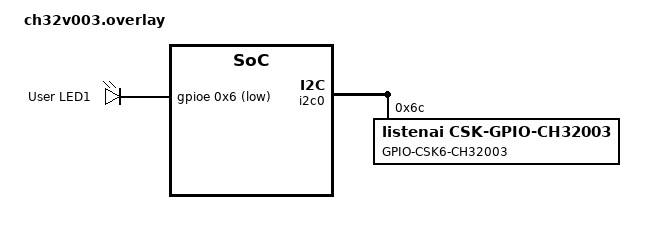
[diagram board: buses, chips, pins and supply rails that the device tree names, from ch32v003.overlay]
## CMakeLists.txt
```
# SPDX-License-Identifier: Apache-2.0

cmake_minimum_required(VERSION 3.20.0)

set(SUPPORT_BOARDS csk6012_nano csk6011a_nano)
if(NOT ${BOARD} IN_LIST SUPPORT_BOARDS)
    message("Please choose one of the following boards:")
    foreach(item ${SUPPORT_BOARDS})
        message(STATUS ${item})
    endforeach()
    message(FATAL_ERROR "\nThe project does not support the ${BOARD}")
endif()

find_package(Zephyr REQUIRED HINTS $ENV{ZEPHYR_BASE})
project(gpio_led)

target_sources(app PRIVATE src/main.c)
```

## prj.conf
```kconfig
CONFIG_GPIO=y
CONFIG_SHELL=y
CONFIG_TEST_RANDOM_GENERATOR=y
CONFIG_ENTROPY_GENERATOR=y
CONFIG_ENTROPY_CSK6_RNG=y
CONFIG_HARDWARE_DEVICE_CS_GENERATOR=y
```

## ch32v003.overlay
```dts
/ {
	leds {
		compatible = "gpio-leds";
		green_led: led1 {
			gpios = <&gpioe 0x6 0x1>;
			label = "User LED1";
		};
	};
};

&pinctrl {

	pinctrl_i2c0_scl_default: i2c0_scl_default{
		pinctrls = <I2C0_SCL_GPIOB_10>;
	};

	pinctrl_i2c0_sda_default: i2c0_sda_default{
		pinctrls = <I2C0_SDA_GPIOB_11>;
	};  
};

&i2c0 {
	status = "okay";
	pinctrl-0 = <&pinctrl_i2c0_scl_default &pinctrl_i2c0_sda_default>;
	pinctrl-names = "default";
	csk6_ch32v003@6c {
		compatible = "listenai,csk-gpio-ch32003";
		reg = <0x6c>;
		label = "GPIO-CSK6-CH32003";
		status = "okay";
		#address-cells = <1>;
		#size-cells = <0>;

		gpioc: gpio@0 {
			compatible = "listenai,csk-gpio-ch32003-port";
			label = "GPIOC";
			reg = <0x00>;
			status = "okay";
			ngpios = <8>;
			#gpio-cells = <2>;
			gpio-controller;
			pin_mask = <0x00>;
		};

		gpiod: gpio@1 {
			compatible = "listenai,csk-gpio-ch32003-port";
			label = "GPIOD";
			reg = <0x01>;
			status = "okay";
			ngpios = <8>;
			#gpio-cells = <2>;
			gpio-controller;
			pin_mask = <0xff>;
		};

		gpioe: gpio@2 {
			compatible = "listenai,csk-gpio-ch32003-port";
			label = "GPIOE";
			reg = <0x02>;
			status = "okay";
			ngpios = <8>;
			#gpio-cells = <2>;
			gpio-controller;
		};
	};
};
```

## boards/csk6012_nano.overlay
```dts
/*
 * Copyright (c) 2021-2022 listenai Intelligent Technology (anhui) Co., Ltd.
 *
 * SPDX-License-Identifier: Apache-2.0
 */

/{
    aliases {
        led0 = &green_led;
    };
    
    leds {
        compatible = "gpio-leds";
        green_led: led1 {
                gpios = <&gpiob 6 GPIO_ACTIVE_LOW>;
                label = "User LED1";
        };
    };
};
```

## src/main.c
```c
/*
 * Copyright (c) 2023 Anhui(Shenzhen) Listenai Co., Ltd.
 *
 * SPDX-License-Identifier: Apache-2.0
 */

#include "Driver_GPIO.h"
#include "Driver_GPT_PWM.h"
#include "IOMuxManager.h"
#include "cmn_sysctrl_reg_venus.h"
#include "gpt.h"
#include "gpt_reg_venus.h"
#include "venus_ap.h"

#include <device.h>
#include <devicetree.h>
#include <drivers/gpio.h>
#include <zephyr.h>

#define CSK6001_GPTtest ((GPT_RegDef *)GPT_BASE)

/* 1000 msec = 1 sec */
#define SLEEP_TIME_MS 1000

#define LED0 DT_GPIO_LABEL(DT_NODELABEL(green_led), gpios)
#define PIN  DT_GPIO_PIN(DT_NODELABEL(green_led), gpios)

static void motor_timer_expiry_handler(struct k_timer *timer);

K_TIMER_DEFINE(motor_timer, motor_timer_expiry_handler, NULL);

/* timer callback */
static void motor_timer_expiry_handler(struct k_timer *timer)
{
	printk("motor_timer_expiry_handler\n");
	static uint8_t status = 0;

	if (status) {
		HAL_GPT_SetPWMFreqDuty(GPT0_PWM(), 0, 96000, 60);
		HAL_GPT_SetPWMFreqDuty(GPT0_PWM(), 1, 96000, 50);
		HAL_GPT_SetPWMFreqDuty(GPT0_PWM(), 2, 96000, 40);

	} else {
		HAL_GPT_SetPWMFreqDuty(GPT0_PWM(), 0, 96000, 40);
		HAL_GPT_SetPWMFreqDuty(GPT0_PWM(), 1, 96000, 50);
		HAL_GPT_SetPWMFreqDuty(GPT0_PWM(), 2, 96000, 60);
	}

	status = !status;
	CSK6001_GPTtest->SHADOW_LOAD = 0x707;
}

void main(void)
{
	int ret;
	uint8_t i;

	/* init PWM controler */
	ret = HAL_GPT_PWMInitialize(GPT0_PWM(), NULL);
	if (ret) {
		printk("HAL_GPT_PWMInitialize failed, ret:%d\n", ret);
		return;
	}
	ret = HAL_GPT_PWMPowerControl(GPT0_PWM(), CSK_POWER_FULL);
	if (ret) {
		printk("HAL_GPT_PWMInitialize failed, ret:%d\n", ret);
		return;
	}

	/* pwm channel 0, GPIOA16 */
	IOMuxManager_PinConfigure(CSK_IOMUX_PAD_A, 16, CSK_IOMUX_FUNC_ALTER11);
	/* pwm channel 1, GPIOA17 */
	IOMuxManager_PinConfigure(CSK_IOMUX_PAD_A, 17, CSK_IOMUX_FUNC_ALTER11);
	/* pwm channel 2, GPIOA18 */
	IOMuxManager_PinConfigure(CSK_IOMUX_PAD_A, 18, CSK_IOMUX_FUNC_ALTER11);

	/* init PWM channel */
	for (i = 0; i < 3; i++) {
		ret = HAL_GPT_PWMControl(
			GPT0_PWM(),
			CSK_GPT_PWM_MODE | CSK_GPT_PWM_CLKSRC_PCLK |
				CSK_GPT_PWM_OUTMODE_CENTRAL_ALIGNED | CSK_GPT_PWM_OUTPOLARITY_LOW |
				CSK_GPT_PWM_CLKDIV_1 | CSK_GPT_PWM_OPERATION_MODE_PWM,
			i);
		if (ret) {
			printk("HAL_GPT_PWMControl failed, channel:%d, ret:%d\n", i, ret);
			return;
		}

		ret = HAL_GPT_SetPWMFreqDuty(GPT0_PWM(), i, 96000, 10 + i * 20);
		if (ret) {
			printk("HAL_GPT_SetPWMFreqDuty failed, channel:%d, ret:%d\n", i, ret);
		}
	}

	CSK6001_GPTtest->SHADOW_LOAD = 0x707;

	HAL_GPT_EnablePWM(GPT0_PWM(), 0);
	HAL_GPT_EnablePWM(GPT0_PWM(), 1);
	HAL_GPT_EnablePWM(GPT0_PWM(), 2);

	CSK6001_GPTtest->CH_CNT_EN |= 0x07;

	k_timer_start(&motor_timer, K_USEC(62500), K_USEC(62500));

	/* Just call the following code where the frequency and duty cycle are changed */
	// HAL_GPT_SetPWMFreqDuty(GPT0_PWM(), 0, 96000, 20);
	// HAL_GPT_SetPWMFreqDuty(GPT0_PWM(), 1, 96000, 30);
	// HAL_GPT_SetPWMFreqDuty(GPT0_PWM(), 2, 96000, 40);
	// CSK6001_GPTtest->SHADOW_LOAD = 0x707;
}
```
